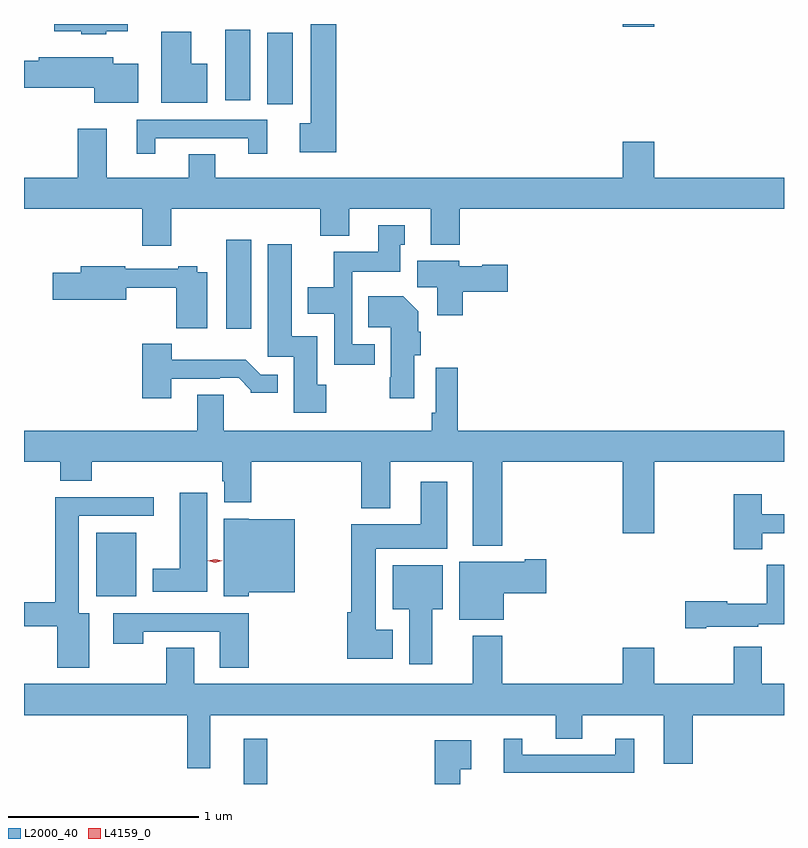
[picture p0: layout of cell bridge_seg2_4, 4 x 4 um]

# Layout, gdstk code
import gdstk
lib = gdstk.Library(unit=1e-6, precision=1e-09)
def R(c, l, rs):  # rectangles x0, y0, x1, y1
    for r in rs: c.add(gdstk.rectangle(r[:2], r[2:], *l))
def P(c, l, *ps):  # polygons
    for p in ps: c.add(gdstk.Polygon(p, *l))
L2000_40 = (2000, 40)
L4159_0 = (4159, 0)

bridge_seg2_4 = lib.new_cell('bridge_seg2_4')
R(bridge_seg2_4, L2000_40, [(654.521,637.949,654.643,638.188), (653.744,638.936,653.956,639.271), (654.428,640.344,654.559,640.813), (654.644,641.526,654.778,641.902), (654.422,641.547,654.556,641.918), (656.516,641.934,656.68,641.949)])
P(bridge_seg2_4, L2000_40, [(655.007,641.949),(654.872,641.949),(654.872,641.426),(654.816,641.426),(654.816,641.273),(655.007,641.273)],
  [(653.796,641.912),(653.911,641.912),(653.911,641.949),(653.523,641.949),(653.523,641.912),(653.664,641.912),(653.664,641.894),(653.796,641.894)],
  [(654.328,641.74),(654.244,641.74),(654.244,641.908),(654.086,641.908),(654.086,641.534),(654.328,641.534)],
  [(653.965,641.74),(653.833,641.74),(653.833,641.773),(653.441,641.773),(653.441,641.756),(653.364,641.756),(653.364,641.614),(653.735,641.614),(653.735,641.534),(653.965,641.534)],
  [(654.055,641.349),(654.545,641.349),(654.545,641.265),(654.643,641.265),(654.643,641.445),(653.957,641.445),(653.957,641.265),(654.055,641.265)],
  [(656.516,641.329),(656.516,641.14),(654.37,641.14),(654.37,641.264),(654.23,641.264),(654.23,641.14),(653.8,641.14),(653.8,641.398),(653.648,641.398),(653.648,641.14),(653.364,641.14),(653.364,640.976),(653.987,640.976),(653.987,640.782),(654.139,640.782),(654.139,640.976),(654.923,640.976),(654.923,640.835),(655.075,640.835),(655.075,640.976),(655.505,640.976),(655.505,640.787),(655.658,640.787),(655.658,640.976),(657.364,640.976),(657.364,641.14),(656.68,641.14),(656.68,641.329)],
  [(655.21,640.263),(655.092,640.263),(655.092,640.646),(655.345,640.646),(655.345,640.788),(655.369,640.788),(655.369,640.891),(655.229,640.891),(655.229,640.75),(654.994,640.75),(654.994,640.564),(654.857,640.564),(654.857,640.424),(654.996,640.424),(654.996,640.155),(655.21,640.155)],
  [(654.954,640.05),(654.907,640.05),(654.907,640.306),(654.772,640.306),(654.772,640.789),(654.647,640.789),(654.647,640.197),(654.785,640.197),(654.785,639.902),(654.954,639.902)],
  [(655.673,640.541),(655.909,640.541),(655.909,640.683),(655.776,640.683),(655.776,640.675),(655.656,640.675),(655.656,640.702),(655.433,640.702),(655.433,640.564),(655.538,640.564),(655.538,640.416),(655.673,640.416)],
  [(654.328,640.642),(654.276,640.642),(654.276,640.675),(654.176,640.675),(654.176,640.662),(653.898,640.662),(653.898,640.675),(653.663,640.675),(653.663,640.641),(653.514,640.641),(653.514,640.499),(653.902,640.499),(653.902,640.561),(654.166,640.561),(654.166,640.349),(654.328,640.349)],
  [(655.417,640.206),(655.451,640.206),(655.451,640.328),(655.438,640.328),(655.438,640.438),(655.36,640.516),(655.177,640.516),(655.177,640.352),(655.295,640.352),(655.295,640.09),(655.288,640.09),(655.288,639.978),(655.417,639.978)],
  [(654.139,640.083),(654.395,640.083),(654.395,640.086),(654.494,640.086),(654.558,640.022),(654.558,640.007),(654.7,640.007),(654.7,640.104),(654.609,640.104),(654.531,640.183),(654.142,640.183),(654.142,640.267),(653.987,640.267),(653.987,639.978),(654.139,639.978)],
  [(655.88,639.644),(656.516,639.644),(656.516,639.27),(656.68,639.27),(656.68,639.644),(657.364,639.644),(657.364,639.808),(655.646,639.808),(655.646,640.141),(655.53,640.141),(655.53,639.904),(655.51,639.904),(655.51,639.808),(654.415,639.808),(654.415,639.998),(654.275,639.998),(654.275,639.808),(653.364,639.808),(653.364,639.644),(653.555,639.644),(653.555,639.545),(653.72,639.545),(653.72,639.644),(654.407,639.644),(654.407,639.543),(654.419,639.543),(654.419,639.431),(654.56,639.431),(654.56,639.644),(655.139,639.644),(655.139,639.401),(655.291,639.401),(655.291,639.644),(655.727,639.644),(655.727,639.203),(655.88,639.203)],
  [(655.306,638.761),(655.216,638.761),(655.216,639.188),(655.591,639.188),(655.591,639.541),(655.451,639.541),(655.451,639.316),(655.087,639.316),(655.087,638.854),(655.064,638.854),(655.064,638.609),(655.306,638.609)],
  [(654.328,639.481),(654.185,639.481),(654.185,639.082),(654.041,639.082),(654.041,638.96),(654.328,638.96)],
  [(657.25,639.27),(657.364,639.27),(657.364,639.369),(657.247,639.369),(657.247,639.475),(657.1,639.475),(657.1,639.185),(657.25,639.185)],
  [(653.707,638.848),(653.653,638.848),(653.653,639.36),(654.046,639.36),(654.046,639.458),(653.528,639.458),(653.528,638.906),(653.364,638.906),(653.364,638.778),(653.54,638.778),(653.54,638.562),(653.707,638.562)],
  [(654.546,638.957),(654.79,638.957),(654.79,639.343),(654.546,639.343),(654.546,639.346),(654.416,639.346),(654.416,638.936),(654.546,638.936)],
  [(655.888,638.953),(656.113,638.953),(656.113,639.131),(656,639.131),(656,639.118),(655.655,639.118),(655.655,638.813),(655.888,638.813)],
  [(656.956,638.777),(657.228,638.777),(657.228,638.789),(657.364,638.789),(657.364,639.103),(657.274,639.103),(657.274,638.899),(657.066,638.899),(657.066,638.912),(656.844,638.912),(656.844,638.77),(656.956,638.77)],
  [(655.513,638.87),(655.567,638.87),(655.567,639.1),(655.304,639.1),(655.304,638.87),(655.391,638.87),(655.391,638.58),(655.513,638.58)],
  [(654.548,638.847),(653.835,638.847),(653.835,638.688),(653.991,638.688),(653.991,638.751),(654.395,638.751),(654.395,638.562),(654.548,638.562)],
  [(654.343,638.312),(656.162,638.312),(656.162,638.188),(656.302,638.188),(656.302,638.312),(656.732,638.312),(656.732,638.055),(656.885,638.055),(656.885,638.312),(657.364,638.312),(657.364,638.476),(657.247,638.476),(657.247,638.671),(657.1,638.671),(657.1,638.476),(656.68,638.476),(656.68,638.665),(656.516,638.665),(656.516,638.476),(655.88,638.476),(655.88,638.728),(655.727,638.728),(655.727,638.476),(654.259,638.476),(654.259,638.666),(654.112,638.666),(654.112,638.476),(653.364,638.476),(653.364,638.312),(654.222,638.312),(654.222,638.031),(654.343,638.031)],
  [(656.575,638.188),(656.477,638.188),(656.477,638.103),(655.987,638.103),(655.987,638.188),(655.889,638.188),(655.889,638.007),(656.575,638.007)],
  [(655.66,638.027),(655.717,638.027),(655.717,638.179),(655.526,638.179),(655.526,637.949),(655.66,637.949)])
P(bridge_seg2_4, L4159_0, [(654.37,639.113),(654.332,639.123),(654.332,639.123),(654.332,639.124),(654.37,639.133),(654.407,639.124),(654.407,639.124),(654.407,639.123)])

lib.write_gds('bridge_seg2_4.gds')
